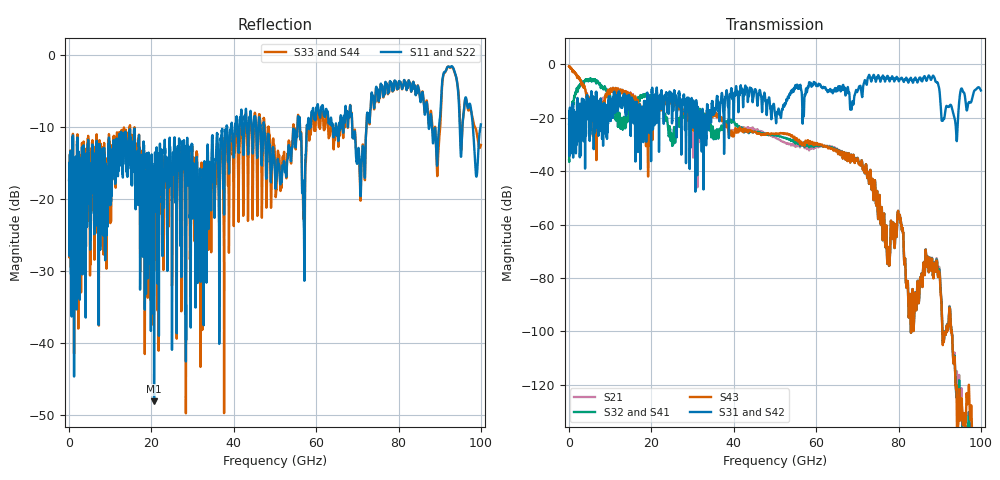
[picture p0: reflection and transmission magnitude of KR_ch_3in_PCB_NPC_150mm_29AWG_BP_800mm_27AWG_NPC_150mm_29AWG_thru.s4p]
# GHz S RI R 45
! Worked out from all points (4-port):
!   4000 points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, 25 MHz to 100 GHz, reference 45 ohm
!   strongest paths, dB at 25 MHz, 25.02 GHz, 50.02 GHz, 75.03 GHz, 100 GHz:
!     S31: -22.2, -20.9, -18.6, -4.1, -9.7
!     S42: -22.2, -20.8, -18.7, -4.1, -9.8
!     S43: -0.7, -13.5, -26.0, -57.1, -137.5
!     S32: -35.9, -29.9, -26.6, -57.2, -145.1
!     S41: -35.9, -29.8, -26.6, -57.2, -145.1
!     S21: -0.7, -13.6, -27.4, -57.2, -155.3
!   lowest |S11| = -48.1 dB at 20.65 GHz (marker M1), VSWR 1.01, Z = 45.2 + j0.299 ohm
!   |S11| at or under -10 dB: start of sweep to 38.28 GHz; 47.38 GHz to 55.47 GHz (8.097 GHz wide, 15.7 % of centre); 68.76 GHz to 72.21 GHz (3.448 GHz wide, 4.89 % of centre) (the widest 3 of 27)
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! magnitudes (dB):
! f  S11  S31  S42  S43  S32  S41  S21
! 25 MHz  -17.4  -22.2  -22.2  -0.7  -35.9  -35.9  -0.7
! 3.8 GHz  -19.7  -23.4  -23.4  -8.6  -6.1  -6.1  -8.6
! 20.65 GHz  -48.1  -15.5  -15.5  -22.4  -13.3  -13.3  -20.5
! 64.12 GHz  -10.7  -10.1  -10.2  -32.2  -31.8  -31.8  -31.4
! 80.22 GHz  -3.7  -5.8  -5.9  -57.4  -57.5  -57.5  -57.5
! 82.25 GHz  -4.6  -5.9  -5.9  -81.1  -81.1  -81.1  -81.1
! 100 GHz  -9.7  -9.7  -9.8  -137.5  -145.1  -145.1  -155.3
